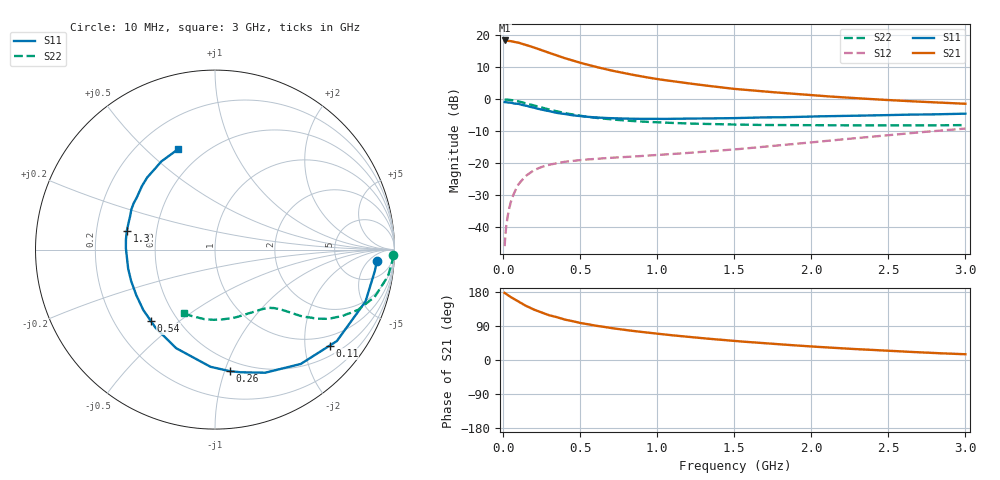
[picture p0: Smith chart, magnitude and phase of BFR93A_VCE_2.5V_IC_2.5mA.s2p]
! Infineon Technologies  Discrete & RF Semiconductors
! BFR93A
! VCE =  2.5 V,  IC =  2.5 mA
! Common Emitter S-Parameters:  Nov 2015
# GHz  S  MA  R  50
!  f  S11  S21  S12  S22
! GHz  MAG  ANG  MAG  ANG  MAG  ANG  MAG  ANG
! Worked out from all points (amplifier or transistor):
!   180 points, 10 MHz to 3 GHz, reference 50 ohm
!   highest |S21| = 18.4 dB at 10 MHz (marker M1)
!   |S21| within 3 dB of that: start of sweep to 247.9 MHz
!   unconditionally stable (mu >= 1): 924.6 MHz to 2.851 GHz
!   at 160 MHz: K = 0.22, MSG = 20.1 dB, |S12| = -23.5 dB
!   at 1.22 GHz: K = 1.13, MAG = 8.5 dB, |S12| = -16.7 dB
!   at 3 GHz: K = 0.98, MSG = 3.9 dB, |S12| = -9.1 dB
!   S11 on the Smith chart (normalised r, x): 10 MHz: 14, -9; 110 MHz: 0.73, -2.56; 260 MHz: 0.41, -1.04; 540 MHz: 0.36, -0.40; 1.3 GHz: 0.33, +0.10; 3 GHz: 0.36, +0.63
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0.01  0.904 -3.9  8.275 177.1  0.0051 88.5  0.993 -1.8
0.02  0.8985 -7.6  8.245 174.2  0.0101 84.9  0.9908 -3.5
0.04  0.8869 -15.2  8.126 168.8  0.0199 80.2  0.9796 -6.9
0.05  0.887 -19.0  8.094 166.0  0.0248 79.3  0.9754 -8.7
0.09  0.8496 -33.2  7.718 156.4  0.0425 71.1  0.936 -14.9
0.11  0.8332 -40.0  7.515 151.8  0.0503 67.9  0.9143 -17.7
0.155  0.7887 -54.5  6.98 141.6  0.0655 61.0  0.8574 -23.3
0.2  0.7408 -67.8  6.433 133.1  0.078 55.6  0.7998 -27.6
0.26  0.6821 -83.1  5.726 123.5  0.0893 49.7  0.7298 -31.9
0.3  0.6534 -92.2  5.303 118.0  0.0952 46.8  0.6883 -34.0
0.4  0.5903 -111.5  4.383 106.7  0.1059 42.0  0.6079 -37.6
0.52  0.5406 -129.5  3.606 96.5  0.1136 39.0  0.5444 -40.0
0.54  0.5344 -132.0  3.504 95.2  0.1146 38.7  0.5365 -40.3
0.6  0.5224 -139.9  3.209 90.6  0.1175 38.1  0.5127 -41.4
0.7  0.5067 -150.0  2.819 84.3  0.1221 38.1  0.4852 -43.0
0.8  0.499 -159.4  2.515 78.8  0.1259 38.7  0.4644 -44.6
1.02  0.493 -175.8  2.034 68.5  0.1356 40.9  0.4351 -48.7
1.3  0.5024 167.8  1.654 57.3  0.1511 44.7  0.413 -55.4
1.52  0.5095 157.8  1.439 49.6  0.1664 47.7  0.4027 -61.5
2.02  0.5396 138.9  1.147 35.2  0.2146 52.0  0.3921 -77.5
2.52  0.5682 123.7  0.966 24.0  0.2791 51.4  0.3908 -95.8
3  0.596 110.4  0.851 15.2  0.3491 47.5  0.3956 -116.1
